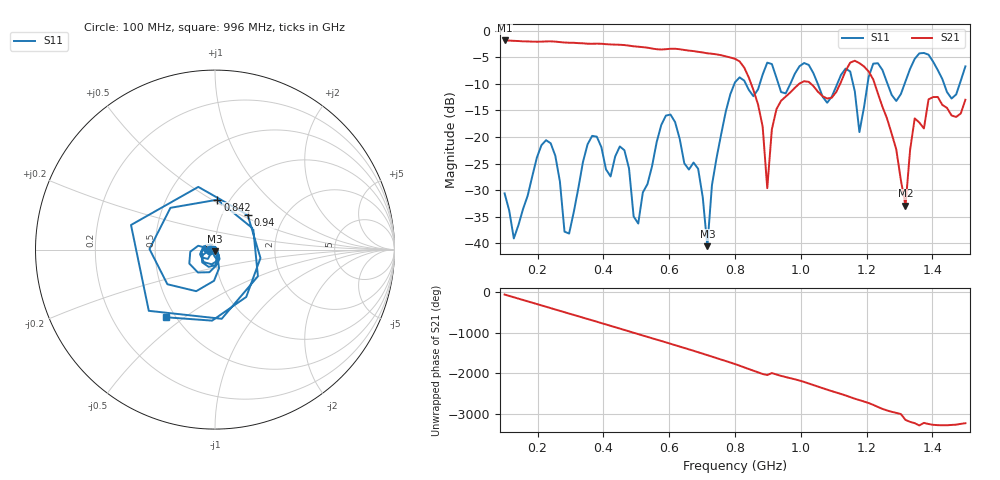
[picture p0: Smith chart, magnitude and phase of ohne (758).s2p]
! NanoVNA-App
! Date: 2025-09-25 14:26:42
! Start: 100MHz Stop: 1,5GHz Points: 101
! S-Parameter data: F S11 S21 S12 S22
# Hz S RI R 50
!  Frequency  S11_Real  S11_Imag  S21_Real  S21_Imag  S12_Real  S12_Imag  S22_Real  S22_Imag
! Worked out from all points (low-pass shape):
!   101 points, 100 MHz to 1.5 GHz, reference 50 ohm
!   highest |S21| = -1.79 dB at 100 MHz (marker M1); lowest = -32.9 dB at 1.318 GHz (marker M2)
!   |S21| within 3 dB of the highest: start of sweep to 772.1 MHz
!   lowest |S11| = -40.6 dB at 716 MHz (marker M3), VSWR 1.02, Z = 49.7 - j0.892 ohm
!   |S11| at or under -10 dB: start of sweep to 798 MHz; 833.1 MHz to 875.1 MHz (42 MHz wide, 4.92 % of centre); 1.052 GHz to 1.111 GHz (58.88 MHz wide, 5.45 % of centre) (the widest 3 of 7)
!   S12 and S22 are empty: the file has one direction only
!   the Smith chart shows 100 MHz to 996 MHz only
!   S11 on the Smith chart (normalised r, x): 100 MHz: 0.94, -0.01; 842 MHz: 0.88, +0.53; 940 MHz: 1.32, +0.55; 996 MHz: 0.45, -0.43
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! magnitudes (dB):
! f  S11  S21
! 100 MHz  -30.6  -1.8
! 128 MHz  -39.1  -1.9
! 226 MHz  -20.6  -2.0
! 296 MHz  -38.2  -2.2
! 338 MHz  -24.7  -2.3
! 464 MHz  -22.5  -2.7
! 506 MHz  -36.3  -3.0
! 576 MHz  -17.7  -3.5
! 688 MHz  -26.0  -3.9
! 716 MHz  -40.6  -4.2
! 800 MHz  -9.7  -5.2
! 842 MHz  -11.1  -8.8
! 898 MHz  -6.0  -29.6
! 940 MHz  -11.5  -13.2
! 996 MHz  -6.7  -9.9
! 1.038 GHz  -7.9  -10.4
! 1.178 GHz  -19.1  -6.1
! 1.22 GHz  -6.2  -9.1
! 1.276 GHz  -12.1  -19.4
! 1.318 GHz  -9.5  -32.9
! 1.346 GHz  -5.3  -16.5
! 1.5 GHz  -6.7  -13.0
